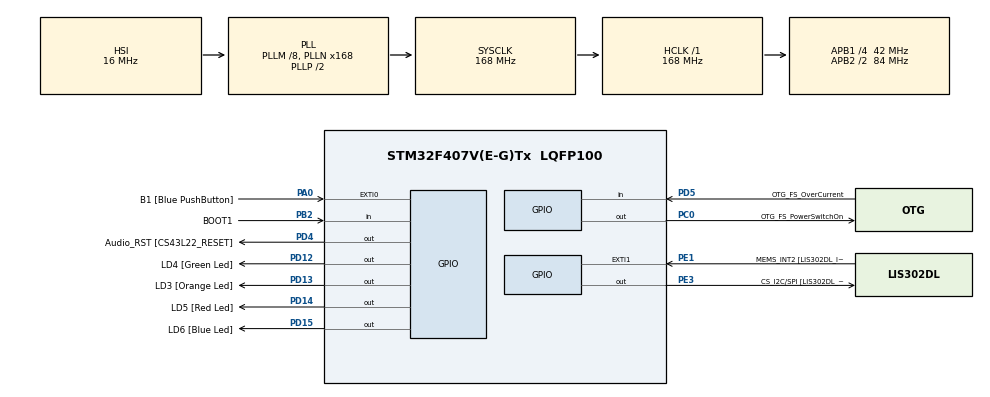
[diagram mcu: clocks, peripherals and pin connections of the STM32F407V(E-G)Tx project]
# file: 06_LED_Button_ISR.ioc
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Mcu.Family=STM32F4
Mcu.Name=STM32F407V(E-G)Tx
Mcu.Package=LQFP100
NVIC.EXTI0_IRQn=true\:5\:0\:true\:false\:true\:true\:true\:true
NVIC.PriorityGroup=NVIC_PRIORITYGROUP_4
NVIC.TIM6_DAC_IRQn=true\:15\:0\:false\:false\:true\:false\:true\:true
NVIC.TimeBase=TIM6_DAC_IRQn
NVIC.TimeBaseIP=TIM6
PA0-WKUP.GPIO_Label=B1 [Blue PushButton]
PA0-WKUP.GPIO_ModeDefaultEXTI=GPIO_MODE_IT_FALLING
PA0-WKUP.Signal=GPXTI0
PA10.GPIO_Label=OTG_FS_ID
PA10.GPIO_Mode=GPIO_MODE_AF_PP
PA10.GPIO_PuPd=GPIO_NOPULL
PA10.GPIO_Speed=GPIO_SPEED_FREQ_LOW
PA10.Signal=USB_OTG_FS_ID
PA11.GPIO_Label=OTG_FS_DM
PA11.GPIO_Mode=GPIO_MODE_AF_PP
PA11.GPIO_PuPd=GPIO_NOPULL
PA11.GPIO_Speed=GPIO_SPEED_FREQ_LOW
PA11.Signal=USB_OTG_FS_DM
PA12.GPIO_Label=OTG_FS_DP
PA12.GPIO_Mode=GPIO_MODE_AF_PP
PA12.GPIO_PuPd=GPIO_NOPULL
PA12.GPIO_Speed=GPIO_SPEED_FREQ_LOW
PA12.Signal=USB_OTG_FS_DP
PA13.GPIO_Label=SWDIO
PA13.Signal=SYS_JTMS-SWDIO
PA14.GPIO_Label=SWCLK
PA14.Signal=SYS_JTCK-SWCLK
PA4.GPIO_Label=I2S3_WS [CS43L22_LRCK]
PA4.GPIO_Mode=GPIO_MODE_AF_PP
PA4.GPIO_PuPd=GPIO_NOPULL
PA4.GPIO_Speed=GPIO_SPEED_FREQ_LOW
PA4.Signal=I2S3_WS
PA5.GPIO_Label=SPI1_SCK [LIS302DL_SCL/SPC]
PA5.GPIO_Mode=GPIO_MODE_AF_PP
PA5.GPIO_PuPd=GPIO_NOPULL
PA5.GPIO_Speed=GPIO_SPEED_FREQ_LOW
PA5.Signal=SPI1_SCK
PA6.GPIO_Label=SPI1_MISO [LIS302DL_SDO]
PA6.GPIO_Mode=GPIO_MODE_AF_PP
PA6.GPIO_PuPd=GPIO_NOPULL
PA6.GPIO_Speed=GPIO_SPEED_FREQ_LOW
PA6.Signal=SPI1_MISO
PA7.GPIO_Label=SPI1_MOSI [LIS302DL_SDA/SDI/SDO]
PA7.GPIO_Mode=GPIO_MODE_AF_PP
PA7.GPIO_PuPd=GPIO_NOPULL
PA7.GPIO_Speed=GPIO_SPEED_FREQ_LOW
PA7.Signal=SPI1_MOSI
PA9.GPIO_Label=VBUS_FS
PA9.GPIO_Mode=GPIO_MODE_INPUT
PA9.GPIO_PuPd=GPIO_NOPULL
PA9.Signal=USB_OTG_FS_VBUS
PB10.GPIO_Label=CLK_IN [MP45DT02_CLK]
PB10.GPIO_Mode=GPIO_MODE_AF_PP
PB10.GPIO_PuPd=GPIO_NOPULL
PB10.GPIO_Speed=GPIO_SPEED_FREQ_LOW
PB10.Signal=I2S2_CK
PB2.GPIO_Label=BOOT1
PB2.GPIO_Mode=GPIO_MODE_INPUT
PB2.GPIO_PuPd=GPIO_NOPULL
PB2.Signal=GPIO_Input
PB3.GPIO_Label=SWO
PB3.Signal=SYS_JTDO-SWO
PB6.GPIO_Label=Audio_SCL [CS43L22_SCL]
PB6.GPIO_Mode=GPIO_MODE_AF_OD
PB6.GPIO_PuPd=GPIO_NOPULL
PB6.GPIO_Speed=GPIO_SPEED_FREQ_LOW
PB6.Signal=I2C1_SCL
PB9.GPIO_Label=Audio_SDA [CS43L22_SDA]
PB9.GPIO_Mode=GPIO_MODE_AF_OD
PB9.GPIO_PuPd=GPIO_NOPULL
PB9.GPIO_Speed=GPIO_SPEED_FREQ_LOW
PB9.Signal=I2C1_SDA
PC0.GPIO_Label=OTG_FS_PowerSwitchOn
PC0.GPIO_PuPd=GPIO_NOPULL
PC0.GPIO_Speed=GPIO_SPEED_FREQ_LOW
PC0.PinState=GPIO_PIN_SET
PC0.Signal=GPIO_Output
PC10.GPIO_Label=I2S3_SCK [CS43L22_SCLK]
PC10.GPIO_Mode=GPIO_MODE_AF_PP
PC10.GPIO_PuPd=GPIO_NOPULL
PC10.GPIO_Speed=GPIO_SPEED_FREQ_LOW
PC10.Signal=I2S3_CK
PC12.GPIO_Label=I2S3_SD [CS43L22_SDIN]
PC12.GPIO_Mode=GPIO_MODE_AF_PP
PC12.GPIO_PuPd=GPIO_NOPULL
PC12.GPIO_Speed=GPIO_SPEED_FREQ_LOW
PC12.Signal=I2S3_SD
PC14-OSC32_IN.GPIO_Label=PC14-OSC32_IN
PC14-OSC32_IN.Signal=RCC_OSC32_IN
PC15-OSC32_OUT.GPIO_Label=PC15-OSC32_OUT
PC15-OSC32_OUT.Signal=RCC_OSC32_OUT
PC3.GPIO_Label=PDM_OUT [MP45DT02_DOUT]
PC3.GPIO_Mode=GPIO_MODE_AF_PP
PC3.GPIO_PuPd=GPIO_NOPULL
PC3.GPIO_Speed=GPIO_SPEED_FREQ_LOW
PC3.Signal=I2S2_SD
PC7.GPIO_Label=I2S3_MCK [CS43L22_MCLK]
PC7.GPIO_Mode=GPIO_MODE_AF_PP
PC7.GPIO_PuPd=GPIO_NOPULL
PC7.GPIO_Speed=GPIO_SPEED_FREQ_LOW
PC7.Signal=I2S3_MCK
PD12.GPIO_Label=LD4 [Green Led]
PD12.GPIO_PuPd=GPIO_NOPULL
PD12.GPIO_Speed=GPIO_SPEED_FREQ_LOW
PD12.Signal=GPIO_Output
PD13.GPIO_Label=LD3 [Orange Led]
PD13.GPIO_PuPd=GPIO_NOPULL
PD13.GPIO_Speed=GPIO_SPEED_FREQ_LOW
PD13.Signal=GPIO_Output
PD14.GPIO_Label=LD5 [Red Led]
PD14.GPIO_PuPd=GPIO_NOPULL
PD14.GPIO_Speed=GPIO_SPEED_FREQ_LOW
PD14.Signal=GPIO_Output
PD15.GPIO_Label=LD6 [Blue Led]
PD15.GPIO_PuPd=GPIO_NOPULL
PD15.GPIO_Speed=GPIO_SPEED_FREQ_LOW
PD15.Signal=GPIO_Output
PD4.GPIO_Label=Audio_RST [CS43L22_RESET]
PD4.GPIO_PuPd=GPIO_NOPULL
PD4.GPIO_Speed=GPIO_SPEED_FREQ_LOW
PD4.Signal=GPIO_Output
PD5.GPIO_Label=OTG_FS_OverCurrent
PD5.GPIO_Mode=GPIO_MODE_INPUT
PD5.GPIO_PuPd=GPIO_NOPULL
PD5.Signal=GPIO_Input
PE1.GPIO_Label=MEMS_INT2 [LIS302DL_INT2]
PE1.GPIO_ModeDefaultEXTI=GPIO_MODE_EVT_RISING
PE1.GPIO_PuPd=GPIO_NOPULL
PE1.Signal=GPXTI1
PE3.GPIO_Label=CS_I2C/SPI [LIS302DL_CS_I2C/SPI]
PE3.GPIO_PuPd=GPIO_NOPULL
PE3.GPIO_Speed=GPIO_SPEED_FREQ_LOW
PE3.Signal=GPIO_Output
PH0-OSC_IN.GPIO_Label=PH0-OSC_IN
PH0-OSC_IN.Signal=RCC_OSC_IN
PH1-OSC_OUT.GPIO_Label=PH1-OSC_OUT
PH1-OSC_OUT.Signal=RCC_OSC_OUT
ProjectManager.HeapSize=0x200
ProjectManager.StackSize=0x400
ProjectManager.TargetToolchain=STM32CubeIDE
RCC.48MHZClocksFreq_Value=48000000
RCC.AHBFreq_Value=168000000
RCC.APB1CLKDivider=RCC_HCLK_DIV4
RCC.APB1Freq_Value=42000000
RCC.APB1TimFreq_Value=84000000
RCC.APB2CLKDivider=RCC_HCLK_DIV2
RCC.APB2Freq_Value=84000000
RCC.APB2TimFreq_Value=168000000
RCC.CortexFreq_Value=168000000
RCC.HCLKFreq_Value=168000000
RCC.HSE_VALUE=8000000
RCC.HSI_VALUE=16000000
RCC.LSE_VALUE=32768
RCC.PLLM=8
RCC.PLLN=168
RCC.PLLQ=7
RCC.SYSCLKFreq_VALUE=168000000
RCC.SYSCLKSource=RCC_SYSCLKSOURCE_PLLCLK
RCC.VCOOutputFreq_Value=336000000
VP_SYS_VS_tim6.Mode=TIM6
board=STM32F407G-DISC1

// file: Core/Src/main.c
/* USER CODE BEGIN Header */
/**
  ******************************************************************************
  * @file           : main.c
  * @brief          : Main program body
  ******************************************************************************
  * @attention
  *
  * Copyright (c) 2023 STMicroelectronics.
  * All rights reserved.
  *
  * This software is licensed under terms that can be found in the LICENSE file
  * in the root directory of this software component.
  * If no LICENSE file comes with this software, it is provided AS-IS.
  *
  ******************************************************************************
  */
/* USER CODE END Header */
#include "main.h"

/* USER CODE BEGIN Includes */
#include "FreeRTOS.h"
#include "task.h"
/* USER CODE END Includes */

/* USER CODE BEGIN PV */
#define DWT_CTRL	(*(uint32_t volatile *)0xE0001000)

TaskHandle_t led_green_task_handle;
TaskHandle_t led_orange_task_handle;
TaskHandle_t led_red_task_handle;
/* USER CODE END PV */

void SystemClock_Config(void);
static void MX_GPIO_Init(void);
/* USER CODE BEGIN PFP */
static void led_green_task_handler(void *parameters);
static void led_orange_task_handler(void *parameters);
static void led_red_task_handler(void *parameters);
void button_interrupt_handler(void);

extern void SEGGER_UART_init(uint32_t);
extern void vInitPrioGroupValue(void);
/* USER CODE END PFP */

/* USER CODE BEGIN 0 */
TaskHandle_t volatile next_task_handle = NULL;	// Share variable
/* USER CODE END 0 */

int main(void)
{
  /* USER CODE BEGIN 1 */

  BaseType_t status;	// Stores the return value of xTaskCreate()
  /* USER CODE END 1 */

  /* MCU Configuration--------------------------------------------------------*/

  /* Reset of all peripherals, Initializes the Flash interface and the Systick. */
  HAL_Init();

  /* Configure the system clock */
  SystemClock_Config();

  /* Initialize all configured peripherals */
  MX_GPIO_Init();
  /* USER CODE BEGIN 2 */

  // Enable the cycle counter
  DWT_CTRL |= (0x1 << 0);	// Set SYCCNTENA bit of DWT_CYCCNT register

  // Initialize UART with desired baudrate for SEGGER SystemView with UART-based recording
  SEGGER_UART_init(500000);

  // Start the SEGGER SystemView recording of events
  SEGGER_SYSVIEW_Conf();
  //SEGGER_SYSVIEW_Start(); // This function will be called from ThirdParty/Rec/segger_uart.c

  // Create LED_Green_Task and make sure that the task creation was successful
  status = xTaskCreate(led_green_task_handler, "LED_Green_Task", 200, NULL, 3, &led_green_task_handle);
  configASSERT(status == pdPASS);

  // Make the LED_Green_Task the first task to run
  next_task_handle = led_green_task_handle;

  // Create LED_Orange_Task and make sure that the task creation was successful
  status = xTaskCreate(led_orange_task_handler, "LED_Orange_Task", 200, NULL, 2, &led_orange_task_handle);
  configASSERT(status == pdPASS);

  // Create LED_Red_Task and make sure that the task creation was successful
  status = xTaskCreate(led_red_task_handler, "LED_red_Task", 200, NULL, 1, &led_red_task_handle);
  configASSERT(status == pdPASS);

  // Start FreeRTOS scheduler
  // vTaskStartScheduler() never returns unless there's a problem launching scheduler
  vTaskStartScheduler();

  // This line will only be reached if the kernel could not be started because there was
  // not enough FreeRTOS heap to create the idle task or the timer task.
  /* USER CODE END 2 */

  /* Infinite loop */
  while (1)
  {

  }
}

void SystemClock_Config(void)
{
  RCC_OscInitTypeDef RCC_OscInitStruct = {0};
  RCC_ClkInitTypeDef RCC_ClkInitStruct = {0};

  /** Configure the main internal regulator output voltage
  */
  __HAL_RCC_PWR_CLK_ENABLE();
  __HAL_PWR_VOLTAGESCALING_CONFIG(PWR_REGULATOR_VOLTAGE_SCALE1);

  /** Initializes the RCC Oscillators according to the specified parameters
  * in the RCC_OscInitTypeDef structure.
  */
  RCC_OscInitStruct.OscillatorType = RCC_OSCILLATORTYPE_HSI;
  RCC_OscInitStruct.HSIState = RCC_HSI_ON;
  RCC_OscInitStruct.HSICalibrationValue = RCC_HSICALIBRATION_DEFAULT;
  RCC_OscInitStruct.PLL.PLLState = RCC_PLL_ON;
  RCC_OscInitStruct.PLL.PLLSource = RCC_PLLSOURCE_HSI;
  RCC_OscInitStruct.PLL.PLLM = 8;
  RCC_OscInitStruct.PLL.PLLN = 168;
  RCC_OscInitStruct.PLL.PLLP = RCC_PLLP_DIV2;
  RCC_OscInitStruct.PLL.PLLQ = 7;
  if (HAL_RCC_OscConfig(&RCC_OscInitStruct) != HAL_OK)
  {
    Error_Handler();
  }

  /** Initializes the CPU, AHB and APB buses clocks
  */
  RCC_ClkInitStruct.ClockType = RCC_CLOCKTYPE_HCLK|RCC_CLOCKTYPE_SYSCLK
                              |RCC_CLOCKTYPE_PCLK1|RCC_CLOCKTYPE_PCLK2;
  RCC_ClkInitStruct.SYSCLKSource = RCC_SYSCLKSOURCE_PLLCLK;
  RCC_ClkInitStruct.AHBCLKDivider = RCC_SYSCLK_DIV1;
  RCC_ClkInitStruct.APB1CLKDivider = RCC_HCLK_DIV4;
  RCC_ClkInitStruct.APB2CLKDivider = RCC_HCLK_DIV2;

  if (HAL_RCC_ClockConfig(&RCC_ClkInitStruct, FLASH_LATENCY_5) != HAL_OK)
  {
    Error_Handler();
  }
}

static void MX_GPIO_Init(void)
{
  GPIO_InitTypeDef GPIO_InitStruct = {0};

  /* GPIO Ports Clock Enable */
  __HAL_RCC_GPIOE_CLK_ENABLE();
  __HAL_RCC_GPIOC_CLK_ENABLE();
  __HAL_RCC_GPIOH_CLK_ENABLE();
  __HAL_RCC_GPIOA_CLK_ENABLE();
  __HAL_RCC_GPIOB_CLK_ENABLE();
  __HAL_RCC_GPIOD_CLK_ENABLE();

  /*Configure GPIO pin Output Level */
  HAL_GPIO_WritePin(CS_I2C_SPI_GPIO_Port, CS_I2C_SPI_Pin, GPIO_PIN_RESET);

  /*Configure GPIO pin Output Level */
  HAL_GPIO_WritePin(OTG_FS_PowerSwitchOn_GPIO_Port, OTG_FS_PowerSwitchOn_Pin, GPIO_PIN_SET);

  /*Configure GPIO pin Output Level */
  HAL_GPIO_WritePin(GPIOD, LD4_Pin|LD3_Pin|LD5_Pin|LD6_Pin
                          |Audio_RST_Pin, GPIO_PIN_RESET);

  /*Configure GPIO pin : CS_I2C_SPI_Pin */
  GPIO_InitStruct.Pin = CS_I2C_SPI_Pin;
  GPIO_InitStruct.Mode = GPIO_MODE_OUTPUT_PP;
  GPIO_InitStruct.Pull = GPIO_NOPULL;
  GPIO_InitStruct.Speed = GPIO_SPEED_FREQ_LOW;
  HAL_GPIO_Init(CS_I2C_SPI_GPIO_Port, &GPIO_InitStruct);

  /*Configure GPIO pin : OTG_FS_PowerSwitchOn_Pin */
  GPIO_InitStruct.Pin = OTG_FS_PowerSwitchOn_Pin;
  GPIO_InitStruct.Mode = GPIO_MODE_OUTPUT_PP;
  GPIO_InitStruct.Pull = GPIO_NOPULL;
  GPIO_InitStruct.Speed = GPIO_SPEED_FREQ_LOW;
  HAL_GPIO_Init(OTG_FS_PowerSwitchOn_GPIO_Port, &GPIO_InitStruct);

  /*Configure GPIO pin : PDM_OUT_Pin */
  GPIO_InitStruct.Pin = PDM_OUT_Pin;
  GPIO_InitStruct.Mode = GPIO_MODE_AF_PP;
  GPIO_InitStruct.Pull = GPIO_NOPULL;
  GPIO_InitStruct.Speed = GPIO_SPEED_FREQ_LOW;
  GPIO_InitStruct.Alternate = GPIO_AF5_SPI2;
  HAL_GPIO_Init(PDM_OUT_GPIO_Port, &GPIO_InitStruct);

  /*Configure GPIO pin : B1_Pin */
  GPIO_InitStruct.Pin = B1_Pin;
  GPIO_InitStruct.Mode = GPIO_MODE_IT_FALLING;
  GPIO_InitStruct.Pull = GPIO_NOPULL;
  HAL_GPIO_Init(B1_GPIO_Port, &GPIO_InitStruct);

  /*Configure GPIO pin : I2S3_WS_Pin */
  GPIO_InitStruct.Pin = I2S3_WS_Pin;
  GPIO_InitStruct.Mode = GPIO_MODE_AF_PP;
  GPIO_InitStruct.Pull = GPIO_NOPULL;
  GPIO_InitStruct.Speed = GPIO_SPEED_FREQ_LOW;
  GPIO_InitStruct.Alternate = GPIO_AF6_SPI3;
  HAL_GPIO_Init(I2S3_WS_GPIO_Port, &GPIO_InitStruct);

  /*Configure GPIO pins : SPI1_SCK_Pin SPI1_MISO_Pin SPI1_MOSI_Pin */
  GPIO_InitStruct.Pin = SPI1_SCK_Pin|SPI1_MISO_Pin|SPI1_MOSI_Pin;
  GPIO_InitStruct.Mode = GPIO_MODE_AF_PP;
  GPIO_InitStruct.Pull = GPIO_NOPULL;
  GPIO_InitStruct.Speed = GPIO_SPEED_FREQ_LOW;
  GPIO_InitStruct.Alternate = GPIO_AF5_SPI1;
  HAL_GPIO_Init(GPIOA, &GPIO_InitStruct);

  /*Configure GPIO pin : BOOT1_Pin */
  GPIO_InitStruct.Pin = BOOT1_Pin;
  GPIO_InitStruct.Mode = GPIO_MODE_INPUT;
  GPIO_InitStruct.Pull = GPIO_NOPULL;
  HAL_GPIO_Init(BOOT1_GPIO_Port, &GPIO_InitStruct);

  /*Configure GPIO pin : CLK_IN_Pin */
  GPIO_InitStruct.Pin = CLK_IN_Pin;
  GPIO_InitStruct.Mode = GPIO_MODE_AF_PP;
  GPIO_InitStruct.Pull = GPIO_NOPULL;
  GPIO_InitStruct.Speed = GPIO_SPEED_FREQ_LOW;
  GPIO_InitStruct.Alternate = GPIO_AF5_SPI2;
  HAL_GPIO_Init(CLK_IN_GPIO_Port, &GPIO_InitStruct);

  /*Configure GPIO pins : LD4_Pin LD3_Pin LD5_Pin LD6_Pin
                           Audio_RST_Pin */
  GPIO_InitStruct.Pin = LD4_Pin|LD3_Pin|LD5_Pin|LD6_Pin
                          |Audio_RST_Pin;
  GPIO_InitStruct.Mode = GPIO_MODE_OUTPUT_PP;
  GPIO_InitStruct.Pull = GPIO_NOPULL;
  GPIO_InitStruct.Speed = GPIO_SPEED_FREQ_LOW;
  HAL_GPIO_Init(GPIOD, &GPIO_InitStruct);

  /*Configure GPIO pins : I2S3_MCK_Pin I2S3_SCK_Pin I2S3_SD_Pin */
  GPIO_InitStruct.Pin = I2S3_MCK_Pin|I2S3_SCK_Pin|I2S3_SD_Pin;
  GPIO_InitStruct.Mode = GPIO_MODE_AF_PP;
  GPIO_InitStruct.Pull = GPIO_NOPULL;
  GPIO_InitStruct.Speed = GPIO_SPEED_FREQ_LOW;
  GPIO_InitStruct.Alternate = GPIO_AF6_SPI3;
  HAL_GPIO_Init(GPIOC, &GPIO_InitStruct);

  /*Configure GPIO pin : VBUS_FS_Pin */
  GPIO_InitStruct.Pin = VBUS_FS_Pin;
  GPIO_InitStruct.Mode = GPIO_MODE_INPUT;
  GPIO_InitStruct.Pull = GPIO_NOPULL;
  HAL_GPIO_Init(VBUS_FS_GPIO_Port, &GPIO_InitStruct);

  /*Configure GPIO pins : OTG_FS_ID_Pin OTG_FS_DM_Pin OTG_FS_DP_Pin */
  GPIO_InitStruct.Pin = OTG_FS_ID_Pin|OTG_FS_DM_Pin|OTG_FS_DP_Pin;
  GPIO_InitStruct.Mode = GPIO_MODE_AF_PP;
  GPIO_InitStruct.Pull = GPIO_NOPULL;
  GPIO_InitStruct.Speed = GPIO_SPEED_FREQ_LOW;
  GPIO_InitStruct.Alternate = GPIO_AF10_OTG_FS;
  HAL_GPIO_Init(GPIOA, &GPIO_InitStruct);

  /*Configure GPIO pin : OTG_FS_OverCurrent_Pin */
  GPIO_InitStruct.Pin = OTG_FS_OverCurrent_Pin;
  GPIO_InitStruct.Mode = GPIO_MODE_INPUT;
  GPIO_InitStruct.Pull = GPIO_NOPULL;
  HAL_GPIO_Init(OTG_FS_OverCurrent_GPIO_Port, &GPIO_InitStruct);

  /*Configure GPIO pins : Audio_SCL_Pin Audio_SDA_Pin */
  GPIO_InitStruct.Pin = Audio_SCL_Pin|Audio_SDA_Pin;
  GPIO_InitStruct.Mode = GPIO_MODE_AF_OD;
  GPIO_InitStruct.Pull = GPIO_NOPULL;
  GPIO_InitStruct.Speed = GPIO_SPEED_FREQ_LOW;
  GPIO_InitStruct.Alternate = GPIO_AF4_I2C1;
  HAL_GPIO_Init(GPIOB, &GPIO_InitStruct);

  /*Configure GPIO pin : MEMS_INT2_Pin */
  GPIO_InitStruct.Pin = MEMS_INT2_Pin;
  GPIO_InitStruct.Mode = GPIO_MODE_EVT_RISING;
  GPIO_InitStruct.Pull = GPIO_NOPULL;
  HAL_GPIO_Init(MEMS_INT2_GPIO_Port, &GPIO_InitStruct);

  /* EXTI interrupt init*/
  HAL_NVIC_SetPriority(EXTI0_IRQn, 5, 0);
  HAL_NVIC_EnableIRQ(EXTI0_IRQn);

}

/* USER CODE BEGIN 4 */

// LED Green task handler
static void led_green_task_handler(void *parameters)
{
	BaseType_t status;

	while (1)
	{
		SEGGER_SYSVIEW_PrintfTarget("Toggling green LED");
		HAL_GPIO_TogglePin(GPIOD, LED_GREEN_PIN);

		// If there's no notifications pending, go to the BLOCKED state for 1 sec
		// until it receives a notification.
		status = xTaskNotifyWait(0, 0, NULL, pdMS_TO_TICKS(1000));

		if (status == pdTRUE)
		{
			// If there was a notification (i.e., User has pressed the button),
			// update the 'next_task_handle', turn the LED on, and delete itself.
			portENTER_CRITICAL();		// Synchronization begins
			next_task_handle = led_orange_task_handle;
			HAL_GPIO_WritePin(GPIOD, LED_GREEN_PIN, GPIO_PIN_SET);
			SEGGER_SYSVIEW_PrintfTarget("Delete Green LED Task");
			portEXIT_CRITICAL();		// Synchronization ends
			vTaskDelete(NULL);
		}
	}
}

// LED Orange task handler
static void led_orange_task_handler(void *parameters)
{
	BaseType_t status;

	while (1)
	{
		SEGGER_SYSVIEW_PrintfTarget("Toggling orange LED");
		HAL_GPIO_TogglePin(GPIOD, LED_ORANGE_PIN);

		// If there's no notifications pending, go to the BLOCKED state for 1 sec
		// until it receives a notification.
		status = xTaskNotifyWait(0, 0, NULL, pdMS_TO_TICKS(800));

		if (status == pdTRUE)
		{
			// If there was a notification (i.e., User has pressed the button),
			// update the 'next_task_handle', turn the LED on, and delete itself.
			portENTER_CRITICAL();		// Synchronization begins
			next_task_handle = led_red_task_handle;
			HAL_GPIO_WritePin(GPIOD, LED_ORANGE_PIN, GPIO_PIN_SET);
			SEGGER_SYSVIEW_PrintfTarget("Delete Orange LED Task");
			portEXIT_CRITICAL();		// Synchronization ends
			vTaskDelete(NULL);
		}
	}
}

// LED Red task handler
static void led_red_task_handler(void *parameters)
{
	BaseType_t status;

	while (1)
	{
		SEGGER_SYSVIEW_PrintfTarget("Toggling red LED");
		HAL_GPIO_TogglePin(GPIOD, LED_RED_PIN);

		// If there's no notifications pending, go to the BLOCKED state for 1 sec
		// until it receives a notification.
		status = xTaskNotifyWait(0, 0, NULL, pdMS_TO_TICKS(400));

		if (status == pdTRUE)
		{
			// If there was a notification (i.e., User has pressed the button),
			// update the 'next_task_handle', turn the LED on, delete itself
			// and the button task.
			portENTER_CRITICAL();		// Synchronization begins
			next_task_handle = NULL;
			HAL_GPIO_WritePin(GPIOD, LED_RED_PIN, GPIO_PIN_SET);
			SEGGER_SYSVIEW_PrintfTarget("Delete Red LED Task");
			portEXIT_CRITICAL();		// Synchronization ends
			vTaskDelete(NULL);
		}
	}
}

// Button interrupt handler
void button_interrupt_handler(void)
{
	BaseType_t pxHigherPriorityTaskWoken = pdFALSE; // Must be initialized to 0

	traceISR_ENTER(); // To monitor the entry of the ISR from the SEGGER SystemView
	xTaskNotifyFromISR(next_task_handle, 0, eNoAction, &pxHigherPriorityTaskWoken);
		// xTaskNotifyFromISR() will set *pxHigherPriorityTaskWoken to pdTRUE
		// if sending the notification caused a task to unblock, and the unblocked
		// task has a priority higher than the currently running task.
		//
		// If xTaskNotifyFromISR() sets this value to pdTRUE then a context switch
		// should be requested before the interrupt is exited. See the example below.
		//
		// pxHigherPriorityTaskWoken is an optional parameter and can be set to NULL.

	// Once the ISR exits, the macro below makes the higher priority task unblocked
	// to resume on the CPU.
	portYIELD_FROM_ISR(pxHigherPriorityTaskWoken);
	traceISR_EXIT();
}

/* USER CODE END 4 */

void HAL_TIM_PeriodElapsedCallback(TIM_HandleTypeDef *htim)
{
  if (htim->Instance == TIM6) {
    HAL_IncTick();
  }
}

void Error_Handler(void)
{
  __disable_irq();
  while (1)
  {
  }
}
